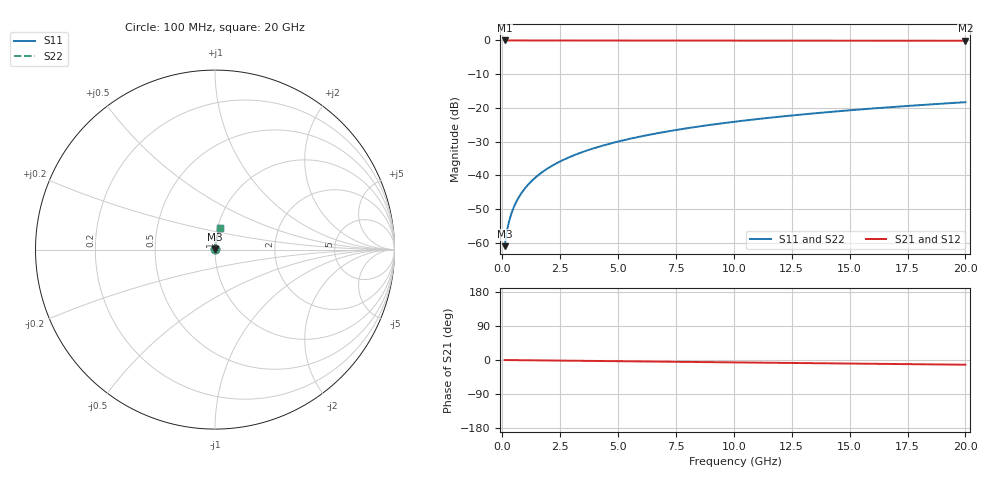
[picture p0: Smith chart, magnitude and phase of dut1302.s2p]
! Touchstone file exported from HFSS 2026.1.0
!  File:  C:/ffzhzh/LocalFiles/Ansys_Project_Files/temp_train_TMRDL_1302_1783164706_22436.aedt
!  Generated:  07:32:54 PM Jul  4, 2026
!  Design:  TMRDL
!  Project:  temp_train_TMRDL_1302_1783164706_22436
! Variables:
!  h_bsmrdl = 2um
!  h_ox = 20um
!  h_rdl = 5um
!  h_sub = 80um
!  h_tmrdl = 5.04um
!  h_tsv = 80um
!  h_via = 3um
!  l_bsmrdl = 300um
!  l_sub = 544.28um
!  l_tmrdl = 144.28um
!  m_sub = 200um
!  pitch = 54.87um
!  r_tsv = 6um
!  s_tmrdl = 10um
!  w_bsmrdl = 18um
!  w_sub = 500um
!  w_tmrdl = 26.84um
!  x_tsv_center1 = 157.7um
!  x_tsv_center2 = 475.7um
!  x_tsv_center3 = 646.82um
!  x_tsv_center4 = 964.82um
!  x_tsv_center5 = 1135.94um
!  x_tsv_center6 = 1453.94um
# GHz S MA R 50.000000
! Terminal data exported
! Port[1] = TM_RDL1_1_T1
! Port[2] = TM_RDL1_1_T2
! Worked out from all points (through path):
!   200 points, 100 MHz to 20 GHz, reference 50 ohm
!   highest |S21| = 0.00 dB at 100 MHz (marker M1); lowest = -0.1 dB at 20 GHz (marker M2)
!   group delay of S21, straight-line fit = 1.72 ps
!   lowest |S11| = -61.0 dB at 100 MHz (marker M3), VSWR 1.00, Z = 50.1 + j0.0701 ohm
!   |S11| at or under -10 dB: start of sweep to end of sweep
!   |S22| runs from -61.0 to -18.3 dB; largest |S21 - S12| = 6e-15
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0.1  0.0008897 51.9  0.9995 -0.1  0.9995 -0.1  0.0008897 51.9
! Gamma 0 0 0 0
! Port Impedance 50 0 50 0
0.2  0.001498 66.8  0.9994 -0.1  0.9994 -0.1  0.001498 66.8
0.3  0.002126 72.7  0.9994 -0.2  0.9994 -0.2  0.002126 72.7
0.4  0.002754 75.9  0.9993 -0.3  0.9993 -0.3  0.002754 75.9
0.5  0.003381 78.1  0.9993 -0.3  0.9993 -0.3  0.003381 78.1
0.7  0.00464 80.7  0.9993 -0.5  0.9993 -0.5  0.00464 80.7
0.8  0.005272 81.5  0.9992 -0.5  0.9992 -0.5  0.005272 81.5
1  0.00654 82.7  0.9992 -0.6  0.9992 -0.6  0.00654 82.7
1.2  0.007811 83.5  0.9992 -0.8  0.9992 -0.8  0.007811 83.5
1.4  0.009084 84.0  0.9991 -0.9  0.9991 -0.9  0.009084 84.0
1.7  0.01099 84.5  0.9991 -1.1  0.9991 -1.1  0.01099 84.5
2  0.0129 84.7  0.999 -1.3  0.999 -1.3  0.0129 84.7
2.7  0.01733 84.9  0.9988 -1.7  0.9988 -1.7  0.01733 84.9
3.5  0.02235 84.8  0.9986 -2.2  0.9986 -2.2  0.02235 84.8
4.2  0.02672 84.5  0.9983 -2.7  0.9983 -2.7  0.02672 84.5
5  0.03167 84.2  0.998 -3.2  0.998 -3.2  0.03167 84.2
6.8  0.04271 83.3  0.9973 -4.3  0.9973 -4.3  0.04271 83.3
8.3  0.05184 82.6  0.9967 -5.2  0.9967 -5.2  0.05184 82.6
10.1  0.06273 81.6  0.9958 -6.4  0.9958 -6.4  0.06273 81.6
13.4  0.08253 79.8  0.9941 -8.4  0.9941 -8.4  0.08253 79.8
16.7  0.1021 78.0  0.9919 -10.4  0.9919 -10.4  0.1021 78.0
20  0.1214 76.1  0.9895 -12.4  0.9895 -12.4  0.1214 76.1
